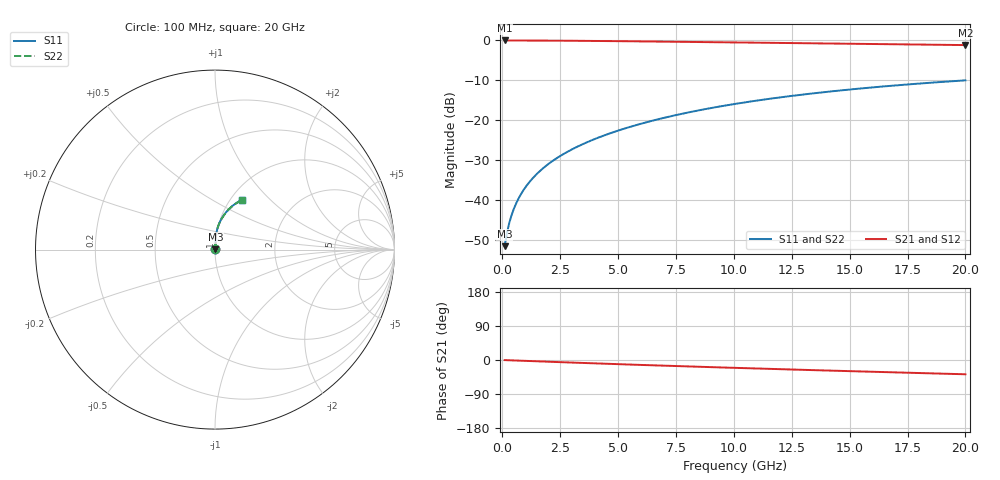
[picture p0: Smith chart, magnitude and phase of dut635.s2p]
! Touchstone file exported from HFSS 2024.1.0
!  File:  C:/UserFiles/LocalFiles/RDL_TSV_Batchsim/temp_RDL_bottom_635_1779784674.aedt
!  Generated:  04:40:08 PM May 26, 2026
!  Design:  RDL_bottom
!  Project:  temp_RDL_bottom_635_1779784674
!  Setup:  Setup1
!  Solution:  Sweep
! Variables:
!  dtsv = 10.80580581um
!  hbump = 3um
!  htsv = 69.44um
!  ldown = 559.42um
!  lrdl = 100um
!  p = 40
!  p1 = 48.03um
!  rhole = 1um
!  t = 450um
!  tdown = 4.43um
!  trdl = 3.915915916um
!  wdown = 23.81um
!  wrdl = 20um
# GHz S MA R 50.000000
! Terminal data exported
! Port[1] = RDL1_T1
! Port[2] = RDL1_T2
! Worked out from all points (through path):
!   200 points, 100 MHz to 20 GHz, reference 50 ohm
!   highest |S21| = -0.02 dB at 100 MHz (marker M1); lowest = -1.2 dB at 20 GHz (marker M2)
!   group delay of S21, straight-line fit = 5.17 ps
!   lowest |S11| = -51.7 dB at 100 MHz (marker M3), VSWR 1.01, Z = 50.2 + j0.159 ohm
!   |S11| at or under -10 dB: start of sweep to end of sweep
!   |S22| runs from -51.7 to -10.0 dB; largest |S21 - S12| = 3.2e-15
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0.1  0.00261 37.4  0.9979 -0.2  0.9979 -0.2  0.00261 37.4
! Gamma 0 0 0 0
! Port Impedance 50 0 50 0
0.2  0.003801 54.5  0.9977 -0.5  0.9977 -0.5  0.003801 54.5
0.3  0.005097 62.6  0.9976 -0.7  0.9976 -0.7  0.005097 62.6
0.4  0.006397 67.4  0.9974 -0.9  0.9974 -0.9  0.006397 67.4
0.5  0.007698 70.8  0.9972 -1.2  0.9972 -1.2  0.007698 70.8
0.6  0.009005 73.3  0.9971 -1.4  0.9971 -1.4  0.009005 73.3
0.8  0.01165 76.8  0.9968 -1.8  0.9968 -1.8  0.01165 76.8
1.1  0.01568 80.1  0.9962 -2.5  0.9962 -2.5  0.01568 80.1
1.3  0.01842 81.5  0.9957 -3.0  0.9957 -3.0  0.01842 81.5
1.6  0.02257 83.1  0.9949 -3.7  0.9949 -3.7  0.02257 83.1
2.1  0.02962 84.7  0.9933 -4.8  0.9933 -4.8  0.02962 84.7
2.7  0.03828 85.8  0.9909 -6.1  0.9909 -6.1  0.03828 85.8
3.5  0.05021 86.4  0.9869 -7.9  0.9869 -7.9  0.05021 86.4
4.2  0.06099 86.5  0.983 -9.3  0.983 -9.3  0.06098 86.5
5  0.07369 86.2  0.978 -11.0  0.978 -11.0  0.07368 86.2
6.8  0.1035 84.6  0.9659 -14.6  0.9659 -14.6  0.1035 84.6
8.4  0.1309 82.4  0.9546 -17.7  0.9546 -17.7  0.1308 82.3
10.1  0.1602 79.6  0.9425 -20.8  0.9425 -20.8  0.1601 79.5
11.7  0.1875 76.7  0.9312 -23.7  0.9312 -23.7  0.1874 76.7
13.4  0.2158 73.5  0.9191 -26.7  0.9191 -26.7  0.2158 73.5
16.7  0.2678 67.5  0.896 -32.3  0.896 -32.3  0.2677 67.4
20  0.315 61.6  0.873 -37.7  0.873 -37.7  0.3148 61.5
